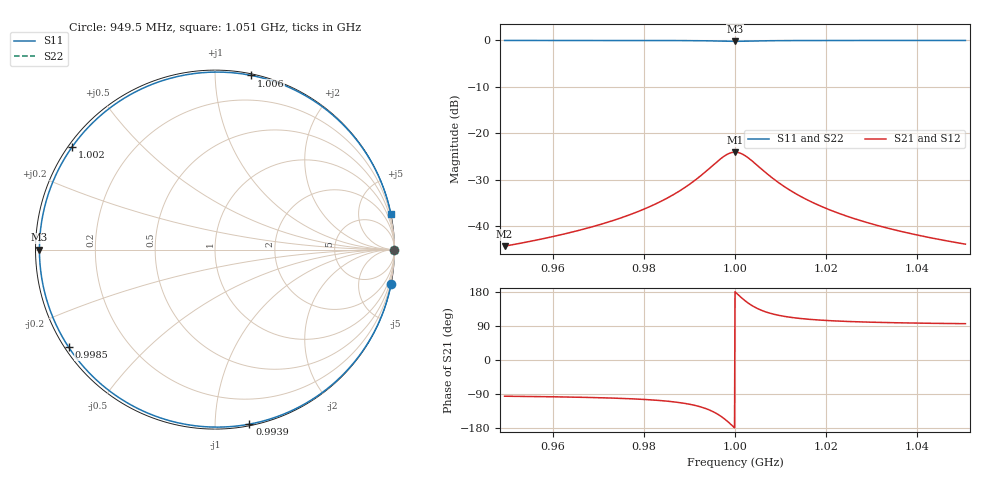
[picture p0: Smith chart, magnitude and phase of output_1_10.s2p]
! File generated for n1 = 1, n2 = 10
! b1 = 100.000000
! b2 = 0.100000
! Q0 = 10000.000000
! f0 = 1000000000.000000
! n = 1001
! rel_span = 10.000000
# Hz S RI R 50
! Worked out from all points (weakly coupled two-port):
!   1001 points, 949.5 MHz to 1.051 GHz, reference 50 ohm
!   highest |S21| = -24.07 dB at 1 GHz (marker M1); lowest = -44.3 dB at 949.5 MHz (marker M2)
!   lowest |S11| = -0.2 dB at 1 GHz (marker M3), VSWR 90.91, Z = 0.55 + j0 ohm
!   |S11| at or under -10 dB: nowhere
!   |S22| runs from 0.0 to 0.0 dB; largest |S21 - S12| = 0
!   S11 on the Smith chart (normalised r, x): 949.5 MHz: 0, -10; 993.9 MHz: 0.01, -1.22; 998.5 MHz: 0.01, -0.30; 1.002 GHz: 0.01, +0.32; 1.006 GHz: 0.01, +1.23; 1.051 GHz: 0.01, +9.87
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9.4945e8  0.9814 -0.1909  -0.000588 -0.00604  -0.000588 -0.00604  1 -0.000191
9.663337e8  0.9578 -0.2857  -0.00133 -0.00904  -0.00133 -0.00904  1 -0.000286
9.759382e8  0.9183 -0.3936  -0.00258 -0.0124  -0.00258 -0.0124  0.9999 -0.000394
9.832174e8  0.838 -0.5424  -0.00512 -0.0172  -0.00512 -0.0172  0.9998 -0.000542
9.896878e8  0.6199 -0.7794  -0.012 -0.0246  -0.012 -0.0246  0.9996 -0.000779
9.920131e8  0.4374 -0.8924  -0.0178 -0.0282  -0.0178 -0.0282  0.9994 -0.000892
9.93934e8  0.1922 -0.9724  -0.0255 -0.0307  -0.0255 -0.0307  0.9992 -0.000972
9.964615e8  -0.3261 -0.9299  -0.0419 -0.0294  -0.0419 -0.0294  0.9987 -0.00093
9.974725e8  -0.5818 -0.7919  -0.05 -0.025  -0.05 -0.025  0.9984 -0.000792
9.984835e8  -0.8147 -0.5448  -0.0574 -0.0172  -0.0574 -0.0172  0.9982 -0.000545
1e9  -0.9782 0  -0.0626 0  -0.0626 0  0.998 0
1.000809e9  -0.9289 0.3085  -0.061 0.00976  -0.061 0.00976  0.9981 0.000308
1.001618e9  -0.7948 0.5739  -0.0568 0.0181  -0.0568 0.0181  0.9982 0.000574
1.002528e9  -0.5834 0.7907  -0.0501 0.025  -0.0501 0.025  0.9984 0.000791
1.003538e9  -0.3292 0.9288  -0.042 0.0294  -0.042 0.0294  0.9987 0.000929
1.004651e9  -0.0737 0.9855  -0.034 0.0312  -0.034 0.0312  0.9989 0.000985
1.006167e9  0.2021 0.9705  -0.0252 0.0307  -0.0252 0.0307  0.9992 0.00097
1.008088e9  0.4411 0.8907  -0.0177 0.0282  -0.0177 0.0282  0.9994 0.000891
1.010413e9  0.6196 0.7797  -0.012 0.0247  -0.012 0.0247  0.9996 0.00078
1.016884e9  0.8347 0.5474  -0.00523 0.0173  -0.00523 0.0173  0.9998 0.000547
1.033767e9  0.9552 0.2942  -0.00142 0.0093  -0.00142 0.0093  1 0.000294
1.05055e9  0.9794 0.2006  -0.00065 0.00634  -0.00065 0.00634  1 0.000201
